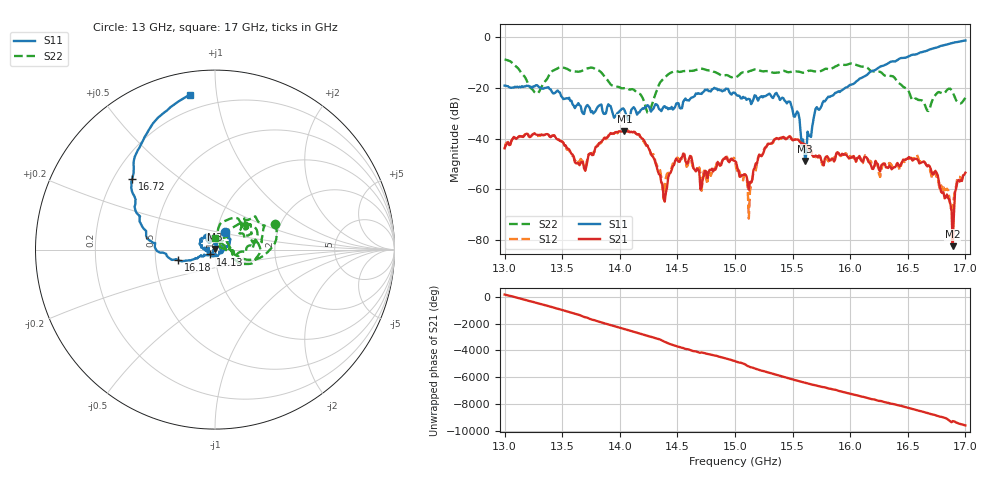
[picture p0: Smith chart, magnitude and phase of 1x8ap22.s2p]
!Keysight Technologies,P9374A,MY57211807,A.19.30.04
!Date: Friday, May 08, 2026 14:34:22
!Correction: S11(C  2-Port  )
!S21(C  2-Port  )
!S12(C  2-Port  )
!S22(C  2-Port  )
!S2P File: Measurements: S11, S21, S12, S22:
# Hz S  dB  R 50
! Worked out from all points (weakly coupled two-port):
!   401 points, 13 GHz to 17 GHz, reference 50 ohm
!   highest |S21| = -37.03 dB at 14.04 GHz (marker M1); lowest = -82.5 dB at 16.89 GHz (marker M2)
!   lowest |S11| = -48.8 dB at 15.61 GHz (marker M3), VSWR 1.01, Z = 49.8 + j0.289 ohm
!   |S11| at or under -10 dB: start of sweep to 16.34 GHz
!   |S22| runs from -29.7 to -8.7 dB; largest |S21 - S12| = 0.0012
!   S11 on the Smith chart (normalised r, x): 13 GHz: 1.10, +0.21; 14.13 GHz: 0.94, -0.05; 16.18 GHz: 0.66, -0.08; 16.72 GHz: 0.28, +0.34; 17 GHz: 0.12, +0.84
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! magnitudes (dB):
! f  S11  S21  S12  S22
! 13 GHz  -19.0  -43.9  -43.8  -8.7
! 13.28 GHz  -18.9  -38.4  -38.7  -22.1
! 13.67 GHz  -29.2  -49.2  -48.5  -13.2
! 14.04 GHz  -28.7  -37.0  -36.9  -20.1
! 14.13 GHz  -28.1  -37.4  -37.7  -21.0
! 14.25 GHz  -27.1  -43.8  -43.7  -29.7
! 14.34 GHz  -28.3  -54.1  -51.7  -18.7
! 14.39 GHz  -27.2  -64.9  -59.5  -15.9
! 14.54 GHz  -27.9  -47.4  -47.9  -13.4
! 14.71 GHz  -22.3  -59.0  -60.6  -12.3
! 15 GHz  -21.9  -48.9  -48.3  -15.6
! 15.13 GHz  -24.5  -57.2  -60.6  -13.3
! 15.28 GHz  -22.7  -42.6  -42.6  -13.3
! 15.48 GHz  -25.5  -39.4  -39.2  -13.7
! 15.61 GHz  -48.8  -42.3  -43.0  -13.8
! 15.67 GHz  -35.4  -46.5  -45.6  -13.2
! 15.79 GHz  -24.7  -47.3  -47.2  -12.4
! 16.18 GHz  -13.4  -50.5  -49.0  -13.2
! 16.34 GHz  -9.9  -50.7  -49.6  -15.1
! 16.72 GHz  -4.3  -54.3  -55.0  -24.1
! 16.89 GHz  -2.1  -82.5  -67.9  -21.7
! 17 GHz  -1.2  -53.5  -54.2  -23.9
